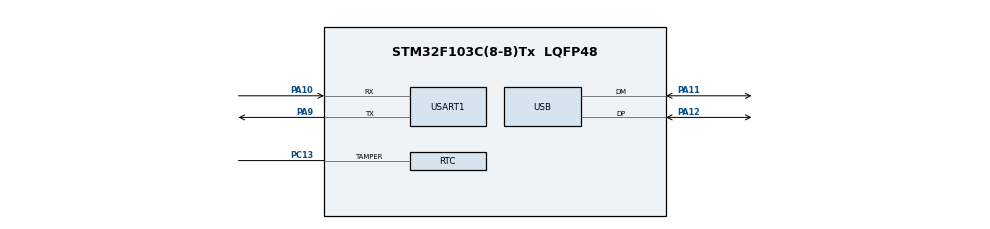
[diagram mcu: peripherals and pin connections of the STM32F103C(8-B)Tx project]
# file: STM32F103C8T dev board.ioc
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IWDG.Prescaler=IWDG_PRESCALER_32
Mcu.Family=STM32F1
Mcu.Name=STM32F103C(8-B)Tx
Mcu.Package=LQFP48
NVIC.PVD_IRQn=true\:0\:0\:false\:false\:true\:true\:false
NVIC.PriorityGroup=NVIC_PRIORITYGROUP_4
NVIC.RTC_IRQn=true\:0\:0\:false\:false\:true\:true\:true
NVIC.TAMPER_IRQn=true\:0\:0\:false\:false\:true\:true\:false
NVIC.USART1_IRQn=true\:0\:0\:false\:false\:true\:true\:false
PA0-WKUP.Mode=SYS_WakeUp0
PA0-WKUP.Signal=SYS_WKUP
PA10.GPIO_PuPd=GPIO_PULLUP
PA10.Mode=Asynchronous
PA10.Signal=USART1_RX
PA11.Mode=Device
PA11.Signal=USB_DM
PA12.Mode=Device
PA12.Signal=USB_DP
PA13.Mode=JTAG_5_pins
PA13.Signal=SYS_JTMS-SWDIO
PA14.Mode=JTAG_5_pins
PA14.Signal=SYS_JTCK-SWCLK
PA15.Mode=JTAG_5_pins
PA15.Signal=SYS_JTDI
PA9.Mode=Asynchronous
PA9.Signal=USART1_TX
PB3.Mode=JTAG_5_pins
PB3.Signal=SYS_JTDO-TRACESWO
PB4.Mode=JTAG_5_pins
PB4.Signal=SYS_NJTRST
PC13-TAMPER-RTC.Mode=Tamper
PC13-TAMPER-RTC.Signal=RTC_TAMPER
PC14-OSC32_IN.Mode=LSE-External-Oscillator
PC14-OSC32_IN.Signal=RCC_OSC32_IN
PC15-OSC32_OUT.Mode=LSE-External-Oscillator
PC15-OSC32_OUT.Signal=RCC_OSC32_OUT
PD0-OSC_IN.Mode=HSE-External-Oscillator
PD0-OSC_IN.Signal=RCC_OSC_IN
PD1-OSC_OUT.Mode=HSE-External-Oscillator
PD1-OSC_OUT.Signal=RCC_OSC_OUT
ProjectManager.HeapSize=0x200
ProjectManager.StackSize=0x400
ProjectManager.TargetToolchain=EWARM V7
RCC.AHBFreq_Value=72000000
RCC.APB1CLKDivider=RCC_HCLK_DIV2
RCC.APB1Freq_Value=36000000
RCC.APB1TimFreq_Value=72000000
RCC.APB2Freq_Value=72000000
RCC.APB2TimFreq_Value=72000000
RCC.HCLKFreq_Value=72000000
RCC.PLLMUL=RCC_PLL_MUL9
RCC.RTCClockSelection=RCC_RTCCLKSOURCE_LSE
RCC.SYSCLKFreq_VALUE=72000000
RCC.SYSCLKSource=RCC_SYSCLKSOURCE_PLLCLK
RCC.USBFreq_Value=48000000
RCC.USBPrescaler=RCC_USBCLKSOURCE_PLL_DIV1_5
USART1.VirtualMode=VM_ASYNC
VP_IWDG_VS_IWDG.Mode=IWDG_Activate
VP_RTC_VS_RTC_Activate.Mode=RTC_Enabled
VP_RTC_VS_RTC_Calendar.Mode=RTC_Calendar
board=custom

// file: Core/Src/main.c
/* USER CODE BEGIN Header */
/**
  ******************************************************************************
  * @file           : main.c
  * @brief          : Main program body
  ******************************************************************************
  * @attention
  *
  * Copyright (c) 2022 STMicroelectronics.
  * All rights reserved.
  *
  * This software is licensed under terms that can be found in the LICENSE file
  * in the root directory of this software component.
  * If no LICENSE file comes with this software, it is provided AS-IS.
  *
  ******************************************************************************
  */
/* USER CODE END Header */
#include "main.h"
#include "iwdg.h"
#include "rtc.h"
#include "usart.h"
#include "gpio.h"

/* USER CODE BEGIN Includes */
#include "usb.h"  // Why didn't CubeMX include this?
#include "stm32_tm1637.h"
/* USER CODE END Includes */

/* USER CODE BEGIN PD */

extern uint32_t u32SysTick;

/* USER CODE END PD */

void SystemClock_Config(void);

/* USER CODE BEGIN 0 */
void sleep(void)
{
  static uint32_t lastSysTick=0;
  while (lastSysTick == u32SysTick)
    __WFI();
  lastSysTick = u32SysTick;
}

/* USER CODE END 0 */

int main(void)
{
  /* USER CODE BEGIN 1 */
  int value = 0 ;
  /* USER CODE END 1 */

  /* MCU Configuration--------------------------------------------------------*/

  /* Reset of all peripherals, Initializes the Flash interface and the Systick. */
  HAL_Init();

  /* Configure the system clock */
  SystemClock_Config();

  /* Initialize all configured peripherals */
  MX_GPIO_Init();
  MX_IWDG_Init();
  MX_RTC_Init();
  MX_USART1_UART_Init();
  MX_USB_PCD_Init();
  /* USER CODE BEGIN 2 */

  tm1637Init();

  /* USER CODE END 2 */

  /* Infinite loop */
  /* USER CODE BEGIN WHILE */
  while (1)
  {
    // 500mS:
    if (u32SysTick % 500 == 0)
    {
      //update value every second and turn on colon:
      if (u32SysTick % 1000 == 0)
      {
        value++;
        tm1637DisplayDecimal(value, 1);
      }
      else  // colon off:
        tm1637DisplayDecimal(value, 0);
    }

    // every second:
    if (u32SysTick % 1000 == 0)
    {
      PatTheWatchDog();
    }
    /* USER CODE END WHILE */

    /* USER CODE BEGIN 3 */
    sleep();
  }
  /* USER CODE END 3 */
}

void SystemClock_Config(void)
{
  LL_FLASH_SetLatency(LL_FLASH_LATENCY_2);
  while(LL_FLASH_GetLatency()!= LL_FLASH_LATENCY_2)
  {
  }
  LL_RCC_HSE_Enable();

   /* Wait till HSE is ready */
  while(LL_RCC_HSE_IsReady() != 1)
  {

  }
  LL_RCC_LSI_Enable();

   /* Wait till LSI is ready */
  while(LL_RCC_LSI_IsReady() != 1)
  {

  }
  LL_PWR_EnableBkUpAccess();
  if(LL_RCC_GetRTCClockSource() != LL_RCC_RTC_CLKSOURCE_LSE)
  {
    LL_RCC_ForceBackupDomainReset();
    LL_RCC_ReleaseBackupDomainReset();
  }
  LL_RCC_LSE_Enable();

   /* Wait till LSE is ready */
  while(LL_RCC_LSE_IsReady() != 1)
  {

  }
  if(LL_RCC_GetRTCClockSource() != LL_RCC_RTC_CLKSOURCE_LSE)
  {
    LL_RCC_SetRTCClockSource(LL_RCC_RTC_CLKSOURCE_LSE);
  }
  LL_RCC_EnableRTC();
  LL_RCC_PLL_ConfigDomain_SYS(LL_RCC_PLLSOURCE_HSE_DIV_1, LL_RCC_PLL_MUL_9);
  LL_RCC_PLL_Enable();

   /* Wait till PLL is ready */
  while(LL_RCC_PLL_IsReady() != 1)
  {

  }
  LL_RCC_SetAHBPrescaler(LL_RCC_SYSCLK_DIV_1);
  LL_RCC_SetAPB1Prescaler(LL_RCC_APB1_DIV_2);
  LL_RCC_SetAPB2Prescaler(LL_RCC_APB2_DIV_1);
  LL_RCC_SetSysClkSource(LL_RCC_SYS_CLKSOURCE_PLL);

   /* Wait till System clock is ready */
  while(LL_RCC_GetSysClkSource() != LL_RCC_SYS_CLKSOURCE_STATUS_PLL)
  {

  }
  LL_SetSystemCoreClock(72000000);

   /* Update the time base */
  if (HAL_InitTick (TICK_INT_PRIORITY) != HAL_OK)
  {
    Error_Handler();
  }
  LL_RCC_SetUSBClockSource(LL_RCC_USB_CLKSOURCE_PLL_DIV_1_5);
}

void Error_Handler(void)
{
  __disable_irq();
  while (1)
  {
  }
}
